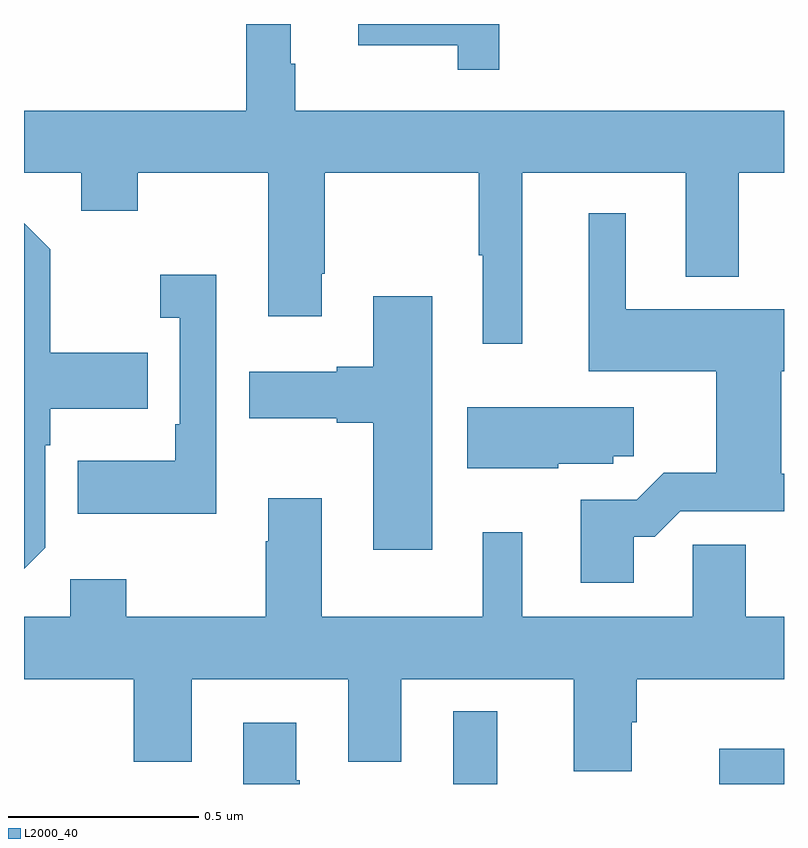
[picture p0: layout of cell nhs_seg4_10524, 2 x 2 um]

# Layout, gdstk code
import gdstk
lib = gdstk.Library(unit=1e-6, precision=1e-09)
def R(c, l, rs):  # rectangles x0, y0, x1, y1
    for r in rs: c.add(gdstk.rectangle(r[:2], r[2:], *l))
def P(c, l, *ps):  # polygons
    for p in ps: c.add(gdstk.Polygon(p, *l))
L2000_40 = (2000, 40)

nhs_seg4_10524 = lib.new_cell('nhs_seg4_10524')
R(nhs_seg4_10524, L2000_40, [(242.129,773.9,242.245,774.091), (242.83,773.9,243,773.993)])
P(nhs_seg4_10524, L2000_40, [(242.311,775.508),(242.741,775.508),(242.741,775.235),(242.881,775.235),(242.881,775.508),(243,775.508),(243,775.672),(241.714,775.672),(241.714,775.796),(241.702,775.796),(241.702,775.9),(241.585,775.9),(241.585,775.672),(241,775.672),(241,775.508),(241.151,775.508),(241.151,775.409),(241.299,775.409),(241.299,775.508),(241.643,775.508),(241.643,775.131),(241.783,775.131),(241.783,775.243),(241.791,775.243),(241.791,775.508),(242.197,775.508),(242.197,775.292),(242.207,775.292),(242.207,775.059),(242.311,775.059)],
  [(242.25,775.9),(241.88,775.9),(241.88,775.844),(242.142,775.844),(242.142,775.779),(242.25,775.779)],
  [(242.605,774.551),(242.66,774.551),(242.727,774.618),(243,774.618),(243,774.716),(242.993,774.716),(242.993,774.986),(243,774.986),(243,775.15),(242.584,775.15),(242.584,775.402),(242.486,775.402),(242.486,774.986),(242.822,774.986),(242.822,774.719),(242.684,774.719),(242.613,774.648),(242.465,774.648),(242.465,774.429),(242.605,774.429)],
  [(241.056,774.522),(241.056,774.791),(241.069,774.791),(241.069,774.887),(241.325,774.887),(241.325,775.035),(241.069,775.035),(241.069,775.307),(241,775.376),(241,774.466)],
  [(241.506,775.24),(241.359,775.24),(241.359,775.127),(241.41,775.127),(241.41,774.847),(241.398,774.847),(241.398,774.751),(241.141,774.751),(241.141,774.611),(241.506,774.611)],
  [(242.074,775.183),(241.919,775.183),(241.919,774.998),(241.823,774.998),(241.823,774.985),(241.593,774.985),(241.593,774.863),(241.823,774.863),(241.823,774.851),(241.919,774.851),(241.919,774.516),(242.074,774.516)],
  [(242.406,774.743),(242.55,774.743),(242.55,774.763),(242.605,774.763),(242.605,774.892),(242.166,774.892),(242.166,774.731),(242.406,774.731)],
  [(242.599,774.063),(242.612,774.063),(242.612,774.176),(243,774.176),(243,774.34),(242.899,774.34),(242.899,774.53),(242.76,774.53),(242.76,774.34),(242.311,774.34),(242.311,774.562),(242.207,774.562),(242.207,774.34),(241.783,774.34),(241.783,774.652),(241.643,774.652),(241.643,774.539),(241.636,774.539),(241.636,774.34),(241.269,774.34),(241.269,774.439),(241.122,774.439),(241.122,774.34),(241,774.34),(241,774.176),(241.289,774.176),(241.289,773.958),(241.441,773.958),(241.441,774.176),(241.853,774.176),(241.853,773.958),(241.993,773.958),(241.993,774.176),(242.447,774.176),(242.447,773.934),(242.599,773.934)],
  [(241.725,773.91),(241.717,773.91),(241.717,774.061),(241.577,774.061),(241.577,773.9),(241.725,773.9)])

lib.write_gds('nhs_seg4_10524.gds')
